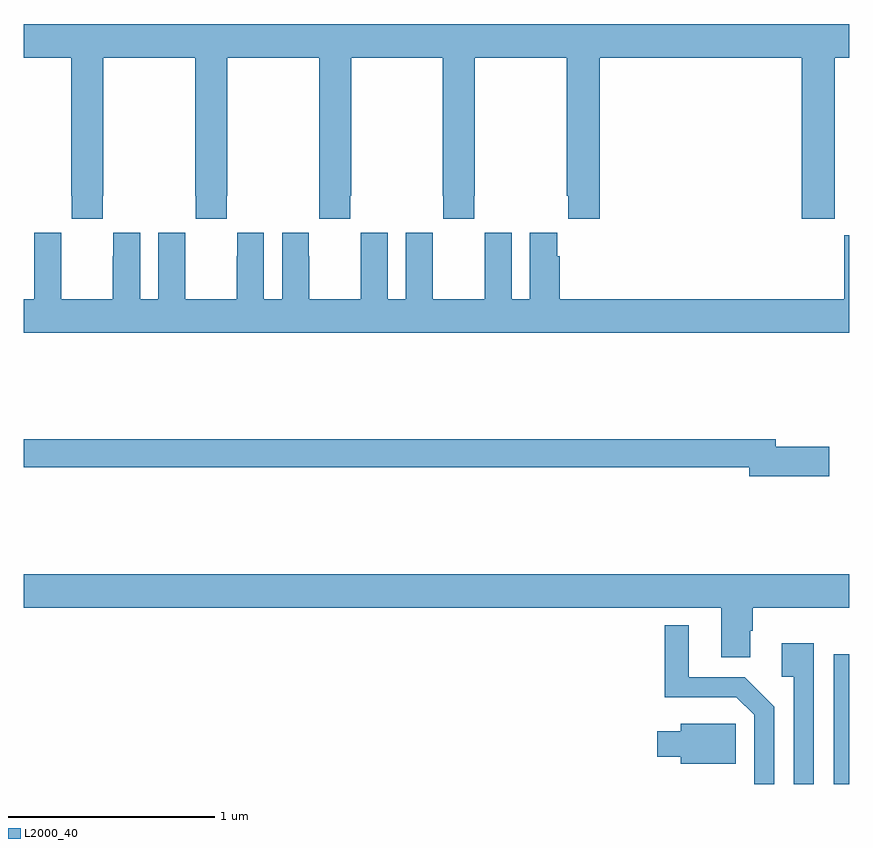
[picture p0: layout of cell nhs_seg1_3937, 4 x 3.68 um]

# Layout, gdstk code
import gdstk
lib = gdstk.Library(unit=1e-6, precision=1e-09)
def R(c, l, rs):  # rectangles x0, y0, x1, y1
    for r in rs: c.add(gdstk.rectangle(r[:2], r[2:], *l))
def P(c, l, *ps):  # polygons
    for p in ps: c.add(gdstk.Polygon(p, *l))
L2000_40 = (2000, 40)

nhs_seg1_3937 = lib.new_cell('nhs_seg1_3937')
R(nhs_seg1_3937, L2000_40, [(328.925,564.199,329,564.828)])
P(nhs_seg1_3937, L2000_40, [(325.383,567.049),(325.386,567.049),(325.386,567.716),(325.831,567.716),(325.831,567.049),(325.833,567.049),(325.833,566.937),(325.983,566.937),(325.983,567.049),(325.986,567.049),(325.986,567.716),(326.431,567.716),(326.431,567.049),(326.433,567.049),(326.433,566.937),(326.583,566.937),(326.583,567.049),(326.586,567.049),(326.586,567.716),(327.031,567.716),(327.031,567.049),(327.033,567.049),(327.033,566.937),(327.183,566.937),(327.183,567.049),(327.186,567.049),(327.186,567.716),(327.631,567.716),(327.631,567.049),(327.637,567.049),(327.637,566.937),(327.791,566.937),(327.791,567.716),(328.769,567.716),(328.769,566.937),(328.929,566.937),(328.929,567.716),(329,567.716),(329,567.88),(325,567.88),(325,567.716),(325.231,567.716),(325.231,567.049),(325.233,567.049),(325.233,566.937),(325.383,566.937)],
  [(329,566.857),(328.976,566.857),(328.976,566.548),(327.596,566.548),(327.596,566.756),(327.586,566.756),(327.586,566.869),(327.452,566.869),(327.452,566.548),(327.364,566.548),(327.364,566.869),(327.234,566.869),(327.234,566.756),(327.233,566.756),(327.233,566.548),(326.983,566.548),(326.983,566.756),(326.982,566.756),(326.982,566.869),(326.852,566.869),(326.852,566.548),(326.764,566.548),(326.764,566.869),(326.634,566.869),(326.634,566.756),(326.633,566.756),(326.633,566.548),(326.383,566.548),(326.383,566.756),(326.382,566.756),(326.382,566.869),(326.252,566.869),(326.252,566.548),(326.164,566.548),(326.164,566.869),(326.034,566.869),(326.034,566.756),(326.033,566.756),(326.033,566.548),(325.783,566.548),(325.783,566.756),(325.782,566.756),(325.782,566.869),(325.652,566.869),(325.652,566.548),(325.564,566.548),(325.564,566.869),(325.434,566.869),(325.434,566.756),(325.433,566.756),(325.433,566.548),(325.183,566.548),(325.183,566.756),(325.182,566.756),(325.182,566.869),(325.052,566.869),(325.052,566.548),(325,566.548),(325,566.384),(329,566.384)],
  [(328.903,565.832),(328.642,565.832),(328.642,565.868),(325,565.868),(325,565.732),(328.514,565.732),(328.514,565.69),(328.903,565.69)],
  [(328.519,564.941),(328.532,564.941),(328.532,565.052),(329,565.052),(329,565.216),(325,565.216),(325,565.052),(328.379,565.052),(328.379,564.813),(328.519,564.813)],
  [(328.635,564.574),(328.492,564.717),(328.222,564.717),(328.222,564.967),(328.105,564.967),(328.105,564.62),(328.453,564.62),(328.539,564.534),(328.539,564.199),(328.635,564.199)],
  [(328.827,564.88),(328.671,564.88),(328.671,564.719),(328.731,564.719),(328.731,564.199),(328.827,564.199)],
  [(328.449,564.49),(328.184,564.49),(328.184,564.454),(328.07,564.454),(328.07,564.332),(328.184,564.332),(328.184,564.296),(328.449,564.296)])

lib.write_gds('nhs_seg1_3937.gds')
